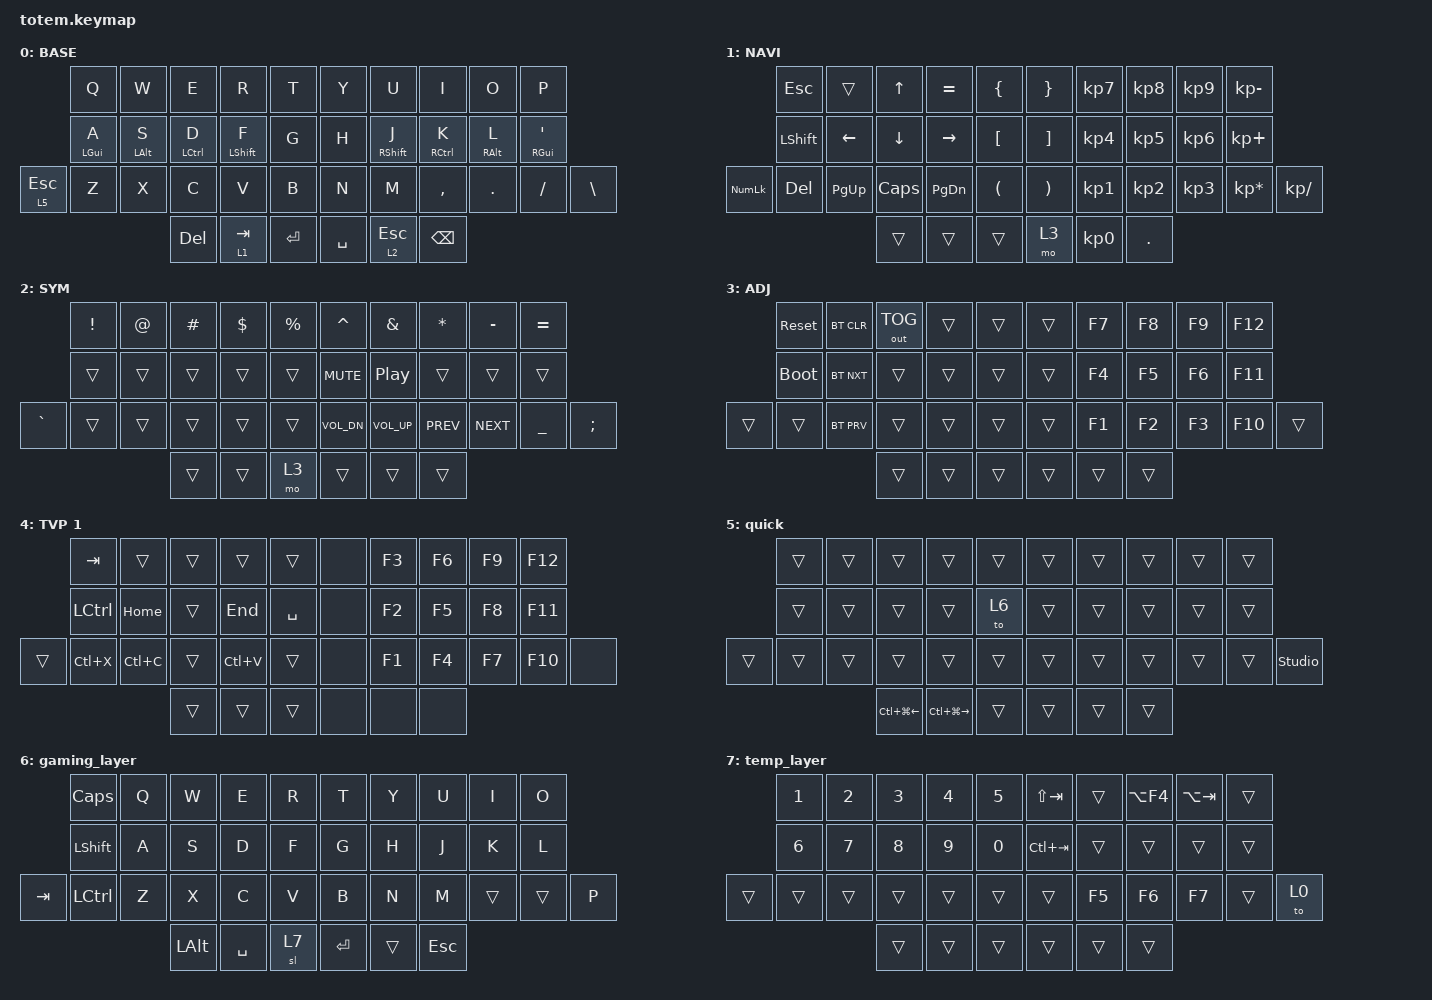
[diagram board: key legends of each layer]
//
//                                                        ▀▀▀▀▀     ▀▀▀▀▀          ▀▀█▀▀
//                                                        ▄▀▀▀▄  ▄  ▄▀▀▀▄  ▄  ▄▀▀▀▄  █  ▄▀▀▀▄
//                                                        █   █  █  █   █  █  █   █  █  █   █
//                                                         ▀▀▀   █   ▀▀▀   █   ▀▀▀   ▀   ▀▀▀
//                                                               █      ▄▄▄█▄▄▄    █   █  
//                                                               ▀      █  █  █     █▄█
//                                                             ▀▀▀▀▀    █  █  █      ▀
//                                                                      ▀  ▀  ▀
//
// ▄▄▄▄▄▄▄▄▄▄▄▄▄▄▄▄▄▄▄▄▄▄▄▄▄▄▄▄▄▄▄▄▄▄▄▄▄▄▄▄▄▄▄▄▄▄▄▄▄▄▄▄▄▄▄▄▄▄▄▄▄▄▄▄▄▄▄▄▄▄▄▄▄▄▄▄▄▄▄▄▄▄▄▄▄▄▄▄▄▄▄▄▄▄▄▄▄▄▄▄▄▄▄▄▄▄▄▄▄▄▄▄▄▄▄▄▄▄▄▄▄▄▄▄▄▄▄▄▄▄▄▄▄▄▄▄▄▄▄▄▄▄▄▄▄▄▄▄▄

#include <behaviors.dtsi>
#include <dt-bindings/zmk/bt.h>
#include <dt-bindings/zmk/keys.h>
#include <dt-bindings/zmk/outputs.h>

#define BASE 0
#define NAV  1
#define SYM  2
#define ADJ  3
#define TVP1 4
#define TVP2 5

&mt {
    quick-tap-ms = <100>;
    global-quick-tap;
    flavor = "tap-preferred";
    tapping-term-ms = <200>;
    require-prior-idle-ms = <125>;
};

/ {
    combos {
        compatible = "zmk,combos";

        combo_esc {
            timeout-ms = <50>;
            key-positions = <0 1>;
            bindings = <&kp ESC>;
        };

        combo_tvp {
            timeout-ms = <100>;
            key-positions = <11 12 13>;
            bindings = <&tog 4>;
        };

        combo_home {
            bindings = <&kp HOME>;
            key-positions = <14 13>;
        };

        combo_end {
            bindings = <&kp END>;
            key-positions = <15 16>;
        };

        combo_num {
            bindings = <&tog 1>;
            key-positions = <16 17 18>;
        };
    };

    keymap {
        compatible = "zmk,keymap";

        // ▄▄▄▄▄▄▄▄▄▄▄▄▄▄▄▄▄▄▄▄▄▄▄▄▄▄▄▄▄▄▄▄▄▄▄▄▄▄▄▄▄▄▄▄▄▄▄▄▄▄▄▄▄▄▄▄▄▄▄▄▄▄▄▄▄▄▄▄▄▄▄▄▄▄▄▄▄▄▄▄▄▄▄▄▄▄▄▄▄▄▄▄▄▄▄▄▄▄▄▄▄▄▄▄▄▄▄▄▄▄▄▄▄▄▄▄▄▄▄▄▄▄▄▄▄▄▄▄▄▄▄▄▄▄▄▄▄▄▄▄▄▄▄▄▄▄▄▄▄

        base_layer {
            // ┏━━━━━━━━━━━━━━━━━━━━━━━━━━━━━━━━━━━━━━━┓

            label = "BASE";

            // ┗━━━━━━━━━━━━━━━━━━━━━━━━━━━━━━━━━━━━━━━┛
            //             ┏━━━━━━━━━━━┳━━━━━━━━━━━┳━━━━━━━━━━━┳━━━━━━━━━━━┳━━━━━━━━━━━┓   ┏━━━━━━━━━━━┳━━━━━━━━━━━┳━━━━━━━━━━━┳━━━━━━━━━━━┳━━━━━━━━━━━┓
            //             ┃     Q     ┃     W     ┃     E     ┃     R     ┃     T     ┃   ┃     Y     ┃     U     ┃     I     ┃     O     ┃     P     ┃
            //             ┣━━━━━━━━━━━╋━━━━━━━━━━━╋━━━━━━━━━━━╋━━━━━━━━━━━╋━━━━━━━━━━━┫   ┣━━━━━━━━━━━╋━━━━━━━━━━━╋━━━━━━━━━━━╋━━━━━━━━━━━╋━━━━━━━━━━━┫
            //             ┃     A     ┃     R     ┃     S     ┃     T     ┃     D     ┃   ┃     H     ┃     N     ┃     E     ┃     I     ┃     ;     ┃
            // ┏━━━━━━━━━━━╋━━━━━━━━━━━╋━━━━━━━━━━━╋━━━━━━━━━━━╋━━━━━━━━━━━╋━━━━━━━━━━━┫   ┣━━━━━━━━━━━╋━━━━━━━━━━━╋━━━━━━━━━━━╋━━━━━━━━━━━╋━━━━━━━━━━━╋━━━━━━━━━━━┓
            // ┃     Q     ┃     Z     ┃     X     ┃     C     ┃     V     ┃     B     ┃   ┃     K     ┃     M     ┃     ,     ┃     .     ┃     /     ┃     \     ┃
            // ┗━━━━━━━━━━━┻━━━━━━━━━━━┻━━━━━━━━━━━╋━━━━━━━━━━━╋━━━━━━━━━━━╋━━━━━━━━━━━┫   ┣━━━━━━━━━━━╋━━━━━━━━━━━╋━━━━━━━━━━━╋━━━━━━━━━━━┻━━━━━━━━━━━┻━━━━━━━━━━━┛
            //                                     ┃    DEL    ┃    TAB    ┃    SPC    ┃   ┃   ENTER   ┃           ┃   BSPC    ┃
            //                                     ┗━━━━━━━━━━━┻━━━━━━━━━━━┻━━━━━━━━━━━┛   ┗━━━━━━━━━━━┻━━━━━━━━━━━┻━━━━━━━━━━━┛

            bindings = <
              &kp Q       &kp W       &kp E        &kp R        &kp T      &kp Y      &kp U         &kp I          &kp O       &kp P
              &mt LGUI A  &mt LALT S  &mt LCTRL D  &mt LSHFT F  &kp G      &kp H      &mt RSHFT J   &mt RCTRL K    &mt RALT L  &mt RGUI SQT
&lt 5 ESCAPE  &kp Z       &kp X       &kp C        &kp V        &kp B      &kp N      &kp M         &kp COMMA      &kp DOT     &kp FSLH      &kp BACKSLASH
                                      &kp DEL      &lt 1 TAB    &kp RET    &kp SPACE  &lt 2 ESCAPE  &kp BACKSPACE
            >;
        };

        // ▄▄▄▄▄▄▄▄▄▄▄▄▄▄▄▄▄▄▄▄▄▄▄▄▄▄▄▄▄▄▄▄▄▄▄▄▄▄▄▄▄▄▄▄▄▄▄▄▄▄▄▄▄▄▄▄▄▄▄▄▄▄▄▄▄▄▄▄▄▄▄▄▄▄▄▄▄▄▄▄▄▄▄▄▄▄▄▄▄▄▄▄▄▄▄▄▄▄▄▄▄▄▄▄▄▄▄▄▄▄▄▄▄▄▄▄▄▄▄▄▄▄▄▄▄▄▄▄▄▄▄▄▄▄▄▄▄▄▄▄▄▄▄▄▄▄▄▄▄

        nav_layer {
            // ┏━━━━━━━━━━━━━━━━━━━━━━━━━━━━━━━━━━━━━━━┓

            label = "NAVI";

            // ┗━━━━━━━━━━━━━━━━━━━━━━━━━━━━━━━━━━━━━━━┛
            //             ┏━━━━━━━━━━━┳━━━━━━━━━━━┳━━━━━━━━━━━┳━━━━━━━━━━━┳━━━━━━━━━━━┓   ┏━━━━━━━━━━━┳━━━━━━━━━━━┳━━━━━━━━━━━┳━━━━━━━━━━━┳━━━━━━━━━━━┓
            //             ┃           ┃           ┃     UP    ┃           ┃     {     ┃   ┃     }     ┃     7     ┃     8     ┃     9     ┃     +     ┃
            //             ┣━━━━━━━━━━━╋━━━━━━━━━━━╋━━━━━━━━━━━╋━━━━━━━━━━━╋━━━━━━━━━━━┫   ┣━━━━━━━━━━━╋━━━━━━━━━━━╋━━━━━━━━━━━╋━━━━━━━━━━━╋━━━━━━━━━━━┫
            //             ┃   SHIFT   ┃   LEFT    ┃    DOWN   ┃   RIGHT   ┃     [     ┃   ┃     ]     ┃     4     ┃     5     ┃     6     ┃     -     ┃
            // ┏━━━━━━━━━━━╋━━━━━━━━━━━╋━━━━━━━━━━━╋━━━━━━━━━━━╋━━━━━━━━━━━╋━━━━━━━━━━━┫   ┣━━━━━━━━━━━╋━━━━━━━━━━━╋━━━━━━━━━━━╋━━━━━━━━━━━╋━━━━━━━━━━━╋━━━━━━━━━━━┓
            // ┃           ┃           ┃   P UP    ┃  C LOCK   ┃  P DOWN   ┃     (     ┃   ┃     )     ┃     1     ┃     2     ┃     3     ┃     *     ┃           ┃
            // ┗━━━━━━━━━━━┻━━━━━━━━━━━┻━━━━━━━━━━━╋━━━━━━━━━━━╋━━━━━━━━━━━╋━━━━━━━━━━━┫   ┣━━━━━━━━━━━╋━━━━━━━━━━━╋━━━━━━━━━━━╋━━━━━━━━━━━┻━━━━━━━━━━━┻━━━━━━━━━━━┛
            //                                     ┃           ┃    TAB    ┃    SPC    ┃   ┃    DEL    ┃     0     ┃           ┃
            //                                     ┗━━━━━━━━━━━┻━━━━━━━━━━━┻━━━━━━━━━━━┛   ┗━━━━━━━━━━━┻━━━━━━━━━━━┻━━━━━━━━━━━┛

            bindings = <
                &kp ESC    &trans     &kp UP    &kp EQUAL  &kp LBRC    &kp RBRC  &kp KP_N7  &kp KP_N8   &kp KP_N9  &kp KP_MINUS
                &kp LSHFT  &kp LEFT   &kp DOWN  &kp RIGHT  &kp LBKT    &kp RBKT  &kp KP_N4  &kp KP_N5   &kp KP_N6  &kp KP_PLUS
&kp KP_NUMLOCK  &kp DEL    &kp PG_UP  &kp CAPS  &kp PG_DN  &kp LPAR    &kp RPAR  &kp KP_N1  &kp KP_N2   &kp KP_N3  &kp KP_MULTIPLY  &kp KP_DIVIDE
                                      &trans    &trans     &trans      &mo 3     &kp KP_N0  &kp PERIOD
            >;
        };

        // ▄▄▄▄▄▄▄▄▄▄▄▄▄▄▄▄▄▄▄▄▄▄▄▄▄▄▄▄▄▄▄▄▄▄▄▄▄▄▄▄▄▄▄▄▄▄▄▄▄▄▄▄▄▄▄▄▄▄▄▄▄▄▄▄▄▄▄▄▄▄▄▄▄▄▄▄▄▄▄▄▄▄▄▄▄▄▄▄▄▄▄▄▄▄▄▄▄▄▄▄▄▄▄▄▄▄▄▄▄▄▄▄▄▄▄▄▄▄▄▄▄▄▄▄▄▄▄▄▄▄▄▄▄▄▄▄▄▄▄▄▄▄▄▄▄▄▄▄▄

        sim_layer {
            // ┏━━━━━━━━━━━━━━━━━━━━━━━━━━━━━━━━━━━━━━━┓

            label = "SYM";

            // ┗━━━━━━━━━━━━━━━━━━━━━━━━━━━━━━━━━━━━━━━┛
            //             ┏━━━━━━━━━━━┳━━━━━━━━━━━┳━━━━━━━━━━━┳━━━━━━━━━━━┳━━━━━━━━━━━┓   ┏━━━━━━━━━━━┳━━━━━━━━━━━┳━━━━━━━━━━━┳━━━━━━━━━━━┳━━━━━━━━━━━┓
            //             ┃     !     ┃     @     ┃     #     ┃     $     ┃     %     ┃   ┃     ˆ     ┃     &     ┃     Ü     ┃     '     ┃     "     ┃
            //             ┣━━━━━━━━━━━╋━━━━━━━━━━━╋━━━━━━━━━━━╋━━━━━━━━━━━╋━━━━━━━━━━━┫   ┣━━━━━━━━━━━╋━━━━━━━━━━━╋━━━━━━━━━━━╋━━━━━━━━━━━╋━━━━━━━━━━━┫
            //             ┃     Ä     ┃           ┃    SZ     ┃           ┃           ┃   ┃   MUTE    ┃   YEN     ┃   EURO    ┃  POUND    ┃     Ö     ┃
            // ┏━━━━━━━━━━━╋━━━━━━━━━━━╋━━━━━━━━━━━╋━━━━━━━━━━━╋━━━━━━━━━━━╋━━━━━━━━━━━┫   ┣━━━━━━━━━━━╋━━━━━━━━━━━╋━━━━━━━━━━━╋━━━━━━━━━━━╋━━━━━━━━━━━╋━━━━━━━━━━━┓
            // ┃           ┃  EMAIL1   ┃  EMAIL2   ┃           ┃           ┃           ┃   ┃   VOL-    ┃   VOL+    ┃   LAST    ┃   NEXT    ┃     \     ┃           ┃
            // ┗━━━━━━━━━━━┻━━━━━━━━━━━┻━━━━━━━━━━━╋━━━━━━━━━━━╋━━━━━━━━━━━╋━━━━━━━━━━━┫   ┣━━━━━━━━━━━╋━━━━━━━━━━━╋━━━━━━━━━━━╋━━━━━━━━━━━┻━━━━━━━━━━━┻━━━━━━━━━━━┛
            //                                     ┃           ┃    GIF    ┃    ADJ    ┃   ┃           ┃           ┃           ┃
            //                                     ┗━━━━━━━━━━━┻━━━━━━━━━━━┻━━━━━━━━━━━┛   ┗━━━━━━━━━━━┻━━━━━━━━━━━┻━━━━━━━━━━━┛

            bindings = <
           &kp EXCL  &kp AT  &kp HASH  &kp DLLR  &kp PRCNT    &kp CARET     &kp AMPS          &kp ASTERISK  &kp MINUS   &kp EQUAL
           &trans    &trans  &trans    &trans    &trans       &kp C_MUTE    &kp C_PLAY_PAUSE  &trans        &trans      &trans
&kp GRAVE  &trans    &trans  &trans    &trans    &trans       &kp C_VOL_DN  &kp C_VOL_UP      &kp C_PREV    &kp C_NEXT  &kp UNDERSCORE  &kp SEMI
                             &trans    &trans    &mo 3        &trans        &trans            &trans
            >;
        };

        // ▄▄▄▄▄▄▄▄▄▄▄▄▄▄▄▄▄▄▄▄▄▄▄▄▄▄▄▄▄▄▄▄▄▄▄▄▄▄▄▄▄▄▄▄▄▄▄▄▄▄▄▄▄▄▄▄▄▄▄▄▄▄▄▄▄▄▄▄▄▄▄▄▄▄▄▄▄▄▄▄▄▄▄▄▄▄▄▄▄▄▄▄▄▄▄▄▄▄▄▄▄▄▄▄▄▄▄▄▄▄▄▄▄▄▄▄▄▄▄▄▄▄▄▄▄▄▄▄▄▄▄▄▄▄▄▄▄▄▄▄▄▄▄▄▄▄▄▄▄

        adjust_layer {
            // ┏━━━━━━━━━━━━━━━━━━━━━━━━━━━━━━━━━━━━━━━┓

            label = "ADJ";

            // ┗━━━━━━━━━━━━━━━━━━━━━━━━━━━━━━━━━━━━━━━┛
            //             ┏━━━━━━━━━━━┳━━━━━━━━━━━┳━━━━━━━━━━━┳━━━━━━━━━━━┳━━━━━━━━━━━┓   ┏━━━━━━━━━━━┳━━━━━━━━━━━┳━━━━━━━━━━━┳━━━━━━━━━━━┳━━━━━━━━━━━┓
            //             ┃   RESET   ┃ BT CLEAR  ┃  OUT TOG  ┃           ┃           ┃   ┃           ┃    F7     ┃    F8     ┃    F9     ┃    F12    ┃
            //             ┣━━━━━━━━━━━╋━━━━━━━━━━━╋━━━━━━━━━━━╋━━━━━━━━━━━╋━━━━━━━━━━━┫   ┣━━━━━━━━━━━╋━━━━━━━━━━━╋━━━━━━━━━━━╋━━━━━━━━━━━╋━━━━━━━━━━━┫
            //             ┃ BOOTLOAD  ┃ BT NEXT   ┃           ┃           ┃           ┃   ┃           ┃    F4     ┃    F5     ┃    F6     ┃    F11    ┃
            // ┏━━━━━━━━━━━╋━━━━━━━━━━━╋━━━━━━━━━━━╋━━━━━━━━━━━╋━━━━━━━━━━━╋━━━━━━━━━━━┫   ┣━━━━━━━━━━━╋━━━━━━━━━━━╋━━━━━━━━━━━╋━━━━━━━━━━━╋━━━━━━━━━━━╋━━━━━━━━━━━┓
            // ┃           ┃           ┃ BT PREV   ┃           ┃           ┃           ┃   ┃           ┃    F1     ┃    F2     ┃    F3     ┃    F10    ┃           ┃
            // ┗━━━━━━━━━━━┻━━━━━━━━━━━┻━━━━━━━━━━━╋━━━━━━━━━━━╋━━━━━━━━━━━╋━━━━━━━━━━━┫   ┣━━━━━━━━━━━╋━━━━━━━━━━━╋━━━━━━━━━━━╋━━━━━━━━━━━┻━━━━━━━━━━━┻━━━━━━━━━━━┛
            //                                     ┃           ┃           ┃           ┃   ┃           ┃           ┃           ┃
            //                                     ┗━━━━━━━━━━━┻━━━━━━━━━━━┻━━━━━━━━━━━┛   ┗━━━━━━━━━━━┻━━━━━━━━━━━┻━━━━━━━━━━━┛

            bindings = <
        &sys_reset   &bt BT_CLR  &out OUT_TOG  &trans  &trans    &trans  &kp F7  &kp F8  &kp F9  &kp F12
        &bootloader  &bt BT_NXT  &trans        &trans  &trans    &trans  &kp F4  &kp F5  &kp F6  &kp F11
&trans  &trans       &bt BT_PRV  &trans        &trans  &trans    &trans  &kp F1  &kp F2  &kp F3  &kp F10  &trans
                                 &trans        &trans  &trans    &trans  &trans  &trans
            >;
        };

        // ▄▄▄▄▄▄▄▄▄▄▄▄▄▄▄▄▄▄▄▄▄▄▄▄▄▄▄▄▄▄▄▄▄▄▄▄▄▄▄▄▄▄▄▄▄▄▄▄▄▄▄▄▄▄▄▄▄▄▄▄▄▄▄▄▄▄▄▄▄▄▄▄▄▄▄▄▄▄▄▄▄▄▄▄▄▄▄▄▄▄▄▄▄▄▄▄▄▄▄▄▄▄▄▄▄▄▄▄▄▄▄▄▄▄▄▄▄▄▄▄▄▄▄▄▄▄▄▄▄▄▄▄▄▄▄▄▄▄▄▄▄▄▄▄▄▄▄▄▄

        tvp1_layer {
            // ┏━━━━━━━━━━━━━━━━━━━━━━━━━━━━━━━━━━━━━━━┓

            label = "TVP 1";

            // ┗━━━━━━━━━━━━━━━━━━━━━━━━━━━━━━━━━━━━━━━┛
            //             ┏━━━━━━━━━━━┳━━━━━━━━━━━┳━━━━━━━━━━━┳━━━━━━━━━━━┳━━━━━━━━━━━┓   ┏━━━━━━━━━━━┳━━━━━━━━━━━┳━━━━━━━━━━━┳━━━━━━━━━━━┳━━━━━━━━━━━┓
            //             ┃ NEXT FILE ┃ MARK IN   ┃ ROTATE    ┃ MARK OUT  ┃ SHOW SNAP ┃   ┃           ┃           ┃           ┃           ┃           ┃
            //             ┣━━━━━━━━━━━╋━━━━━━━━━━━╋━━━━━━━━━━━╋━━━━━━━━━━━╋━━━━━━━━━━━┫   ┣━━━━━━━━━━━╋━━━━━━━━━━━╋━━━━━━━━━━━╋━━━━━━━━━━━╋━━━━━━━━━━━┫
            //             ┃ TVP II    ┃ LEFT      ┃ PAN       ┃ RIGHT     ┃ PLAY/FLIP ┃   ┃           ┃           ┃           ┃           ┃           ┃
            // ┏━━━━━━━━━━━╋━━━━━━━━━━━╋━━━━━━━━━━━╋━━━━━━━━━━━╋━━━━━━━━━━━╋━━━━━━━━━━━┫   ┣━━━━━━━━━━━╋━━━━━━━━━━━╋━━━━━━━━━━━╋━━━━━━━━━━━╋━━━━━━━━━━━╋━━━━━━━━━━━┓
            // ┃ FULLSCR   ┃ SHIFT     ┃ COPY      ┃ DELETE    ┃ PASTE     ┃ IMG MARK  ┃   ┃           ┃           ┃           ┃           ┃           ┃           ┃
            // ┗━━━━━━━━━━━┻━━━━━━━━━━━┻━━━━━━━━━━━╋━━━━━━━━━━━╋━━━━━━━━━━━╋━━━━━━━━━━━┫   ┣━━━━━━━━━━━╋━━━━━━━━━━━╋━━━━━━━━━━━╋━━━━━━━━━━━┻━━━━━━━━━━━┻━━━━━━━━━━━┛
            //                                     ┃           ┃ UNDO/SAVE ┃  SEL/MOV  ┃   ┃           ┃           ┃           ┃
            //                                     ┗━━━━━━━━━━━┻━━━━━━━━━━━┻━━━━━━━━━━━┛   ┗━━━━━━━━━━━┻━━━━━━━━━━━┻━━━━━━━━━━━┛

            bindings = <
        &kp TAB           &trans     &trans  &trans     &trans       &none  &kp F3  &kp F6  &kp F9  &kp F12
        &kp LEFT_CONTROL  &kp HOME   &trans  &kp END    &kp SPACE    &none  &kp F2  &kp F5  &kp F8  &kp F11
&trans  &kp LC(X)         &kp LC(C)  &trans  &kp LC(V)  &trans       &none  &kp F1  &kp F4  &kp F7  &kp F10  &none
                                     &trans  &trans     &trans       &none  &none   &none
            >;
        };

        // ▄▄▄▄▄▄▄▄▄▄▄▄▄▄▄▄▄▄▄▄▄▄▄▄▄▄▄▄▄▄▄▄▄▄▄▄▄▄▄▄▄▄▄▄▄▄▄▄▄▄▄▄▄▄▄▄▄▄▄▄▄▄▄▄▄▄▄▄▄▄▄▄▄▄▄▄▄▄▄▄▄▄▄▄▄▄▄▄▄▄▄▄▄▄▄▄▄▄▄▄▄▄▄▄▄▄▄▄▄▄▄▄▄▄▄▄▄▄▄▄▄▄▄▄▄▄▄▄▄▄▄▄▄▄▄▄▄▄▄▄▄▄▄▄▄▄▄▄▄

        quick {
            bindings = <
        &trans  &trans  &trans            &trans             &trans    &trans  &trans  &trans  &trans  &trans
        &trans  &trans  &trans            &trans             &to 6     &trans  &trans  &trans  &trans  &trans
&trans  &trans  &trans  &trans            &trans             &trans    &trans  &trans  &trans  &trans  &trans  &studio_unlock
                        &kp LC(LG(LEFT))  &kp LC(LG(RIGHT))  &trans    &trans  &trans  &trans
            >;
        };

        gaming_layer {
            bindings = <
         &kp CLCK          &kp Q  &kp W         &kp E      &kp R    &kp T      &kp Y   &kp U       &kp I   &kp O
         &kp LEFT_SHIFT    &kp A  &kp S         &kp D      &kp F    &kp G      &kp H   &kp J       &kp K   &kp L
&kp TAB  &kp LEFT_CONTROL  &kp Z  &kp X         &kp C      &kp V    &kp B      &kp N   &kp M       &trans  &trans  &kp P
                                  &kp LEFT_ALT  &kp SPACE  &sl 7    &kp ENTER  &trans  &kp ESCAPE
            >;
        };

        temp_layer {
            bindings = <
        &kp NUMBER_1  &kp NUMBER_2  &kp NUMBER_3  &kp NUMBER_4  &kp N5    &kp LS(TAB)  &trans  &kp LA(F4)  &kp LA(TAB)  &trans
        &kp NUMBER_6  &kp N7        &kp N8        &kp N9        &kp N0    &kp LC(TAB)  &trans  &trans      &trans       &trans
&trans  &trans        &trans        &trans        &trans        &trans    &trans       &kp F5  &kp F6      &kp F7       &trans  &to 0
                                    &trans        &trans        &trans    &trans       &trans  &trans
            >;
        };
    };
};
